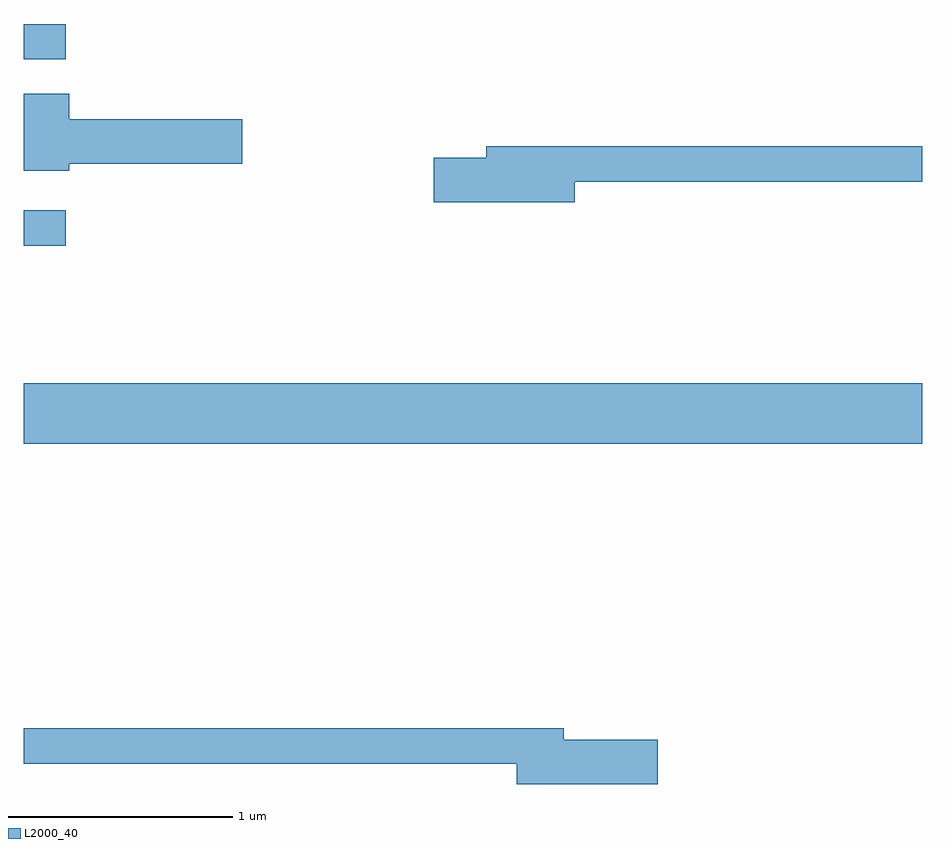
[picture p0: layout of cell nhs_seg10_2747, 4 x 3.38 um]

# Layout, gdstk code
import gdstk
lib = gdstk.Library(unit=1e-6, precision=1e-09)
def R(c, l, rs):  # rectangles x0, y0, x1, y1
    for r in rs: c.add(gdstk.rectangle(r[:2], r[2:], *l))
def P(c, l, *ps):  # polygons
    for p in ps: c.add(gdstk.Polygon(p, *l))
L2000_40 = (2000, 40)

nhs_seg10_2747 = lib.new_cell('nhs_seg10_2747')
R(nhs_seg10_2747, L2000_40, [(265.611,2158.316,269.611,2158.584), (265.611,2159.196,265.798,2159.354), (265.611,2160.026,265.798,2160.184)])
P(nhs_seg10_2747, L2000_40, [(265.814,2159.561),(266.584,2159.561),(266.584,2159.759),(265.814,2159.759),(265.814,2159.874),(265.611,2159.874),(265.611,2159.531),(265.814,2159.531)],
  [(268.064,2159.481),(269.611,2159.481),(269.611,2159.639),(267.671,2159.639),(267.671,2159.589),(267.436,2159.589),(267.436,2159.391),(268.064,2159.391)],
  [(268.434,2156.999),(268.014,2156.999),(268.014,2157.049),(265.611,2157.049),(265.611,2156.891),(267.806,2156.891),(267.806,2156.801),(268.434,2156.801)])

lib.write_gds('nhs_seg10_2747.gds')
